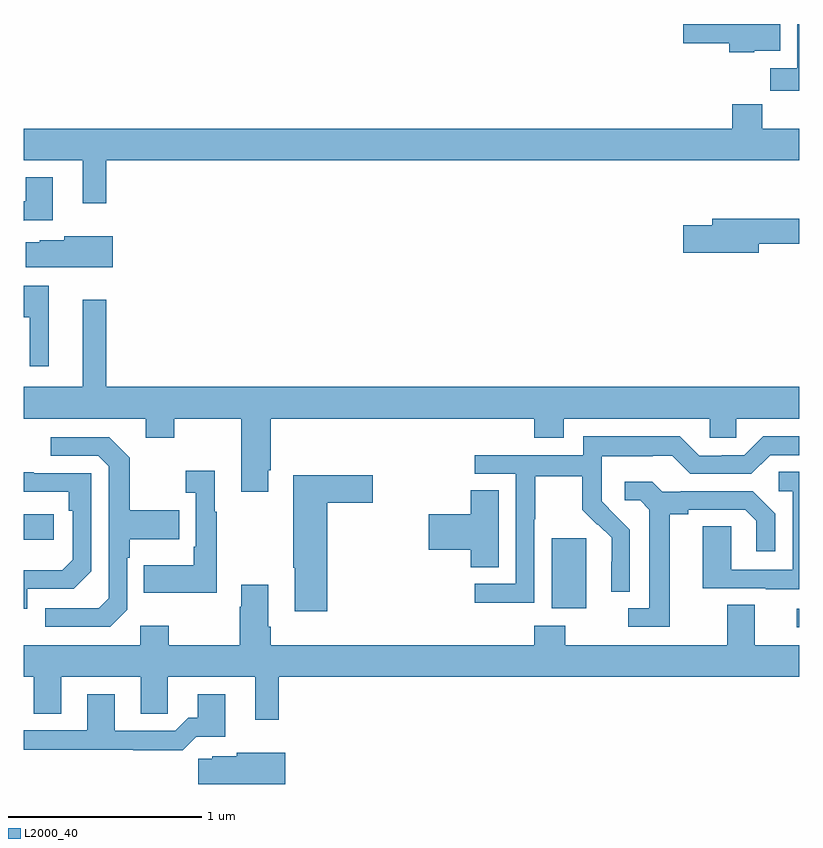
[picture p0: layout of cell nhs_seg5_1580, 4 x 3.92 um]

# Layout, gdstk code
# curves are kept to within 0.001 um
import gdstk
lib = gdstk.Library(unit=1e-6, precision=1e-09)
def R(c, l, rs):  # rectangles x0, y0, x1, y1
    for r in rs: c.add(gdstk.rectangle(r[:2], r[2:], *l))
def P(c, l, *ps):  # polygons
    for p in ps: c.add(gdstk.Polygon(p, *l))
L2000_40 = (2000, 40)

nhs_seg5_1580 = lib.new_cell('nhs_seg5_1580')
R(nhs_seg5_1580, L2000_40, [(210.987,851.688,211,851.784), (209.723,851.786,209.902,852.147), (207,852.14,207.154,852.27)])
P(nhs_seg5_1580, L2000_40, [(211,854.799),(210.989,854.799),(210.989,854.572),(210.85,854.572),(210.85,854.454),(211,854.454)],
  [(210.768,854.66),(210.901,854.66),(210.901,854.799),(210.402,854.799),(210.402,854.701),(210.638,854.701),(210.638,854.654),(210.768,854.654)],
  [(211,854.26),(210.809,854.26),(210.809,854.384),(210.653,854.384),(210.653,854.26),(207,854.26),(207,854.096),(207.305,854.096),(207.305,853.875),(207.427,853.875),(207.427,854.096),(211,854.096)],
  [(207.003,853.788),(207.151,853.788),(207.151,854.008),(207.011,854.008),(207.011,853.885),(207,853.885),(207,853.785)],
  [(210.79,853.666),(211,853.666),(211,853.795),(210.551,853.795),(210.551,853.761),(210.402,853.761),(210.402,853.619),(210.79,853.619)],
  [(207.46,853.705),(207.21,853.705),(207.21,853.684),(207.084,853.684),(207.084,853.673),(207.012,853.673),(207.012,853.544),(207.46,853.544)],
  [(207.13,853.45),(207,853.45),(207,853.286),(207.032,853.286),(207.032,853.035),(207.13,853.035)],
  [(207.427,853.378),(207.305,853.378),(207.305,852.928),(207,852.928),(207,852.764),(207.629,852.764),(207.629,852.665),(207.777,852.665),(207.777,852.764),(208.121,852.764),(208.121,852.387),(208.261,852.387),(208.261,852.499),(208.274,852.499),(208.274,852.764),(209.633,852.764),(209.633,852.665),(209.785,852.665),(209.785,852.764),(210.537,852.764),(210.537,852.666),(210.675,852.666),(210.675,852.764),(211,852.764),(211,852.928),(207.427,852.928)],
  [(209.634,852.244),(209.637,852.244),(209.637,852.468),(209.881,852.468),(209.881,852.293),(209.958,852.216),(209.961,852.219),(210.032,852.149),(210.032,852.026),(210.03,852.026),(210.03,851.872),(210.126,851.872),(210.126,852.19),(209.98,852.338),(209.98,852.435),(209.982,852.435),(209.982,852.569),(210.245,852.569),(210.245,852.573),(210.345,852.573),(210.438,852.48),(210.753,852.48),(210.849,852.576),(211,852.576),(211,852.672),(210.813,852.672),(210.717,852.576),(210.599,852.576),(210.599,852.573),(210.483,852.573),(210.383,852.673),(209.886,852.673),(209.886,852.576),(209.325,852.576),(209.325,852.48),(209.538,852.48),(209.538,851.913),(209.325,851.913),(209.325,851.815),(209.634,851.815)],
  [(207.534,851.778),(207.534,852.047),(207.547,852.047),(207.547,852.143),(207.803,852.143),(207.803,852.291),(207.547,852.291),(207.547,852.563),(207.441,852.669),(207.141,852.669),(207.141,852.573),(207.384,852.573),(207.438,852.519),(207.438,851.838),(207.387,851.787),(207.111,851.787),(207.111,851.691),(207.447,851.691)],
  [(207.997,852.283),(207.985,852.283),(207.985,852.496),(207.837,852.496),(207.837,852.383),(207.888,852.383),(207.888,852.103),(207.876,852.103),(207.876,852.007),(207.619,852.007),(207.619,851.867),(207.997,851.867)],
  [(211,852.491),(210.894,852.491),(210.894,852.39),(210.966,852.39),(210.966,851.985),(210.648,851.985),(210.648,852.209),(210.503,852.209),(210.503,851.889),(210.827,851.889),(210.827,851.885),(211,851.885)],
  [(207.018,851.886),(207.258,851.886),(207.348,851.976),(207.348,852.483),(207.053,852.483),(207.053,852.488),(207,852.488),(207,852.387),(207.232,852.387),(207.232,852.29),(207.252,852.29),(207.252,852.036),(207.199,851.983),(207,851.983),(207,851.784),(207.018,851.784)],
  [(208.565,852.329),(208.801,852.329),(208.801,852.471),(208.39,852.471),(208.39,851.995),(208.397,851.995),(208.397,851.772),(208.565,851.772)],
  [(210.331,852.272),(210.427,852.272),(210.427,852.294),(210.722,852.294),(210.779,852.237),(210.779,852.081),(210.876,852.081),(210.876,852.274),(210.76,852.39),(210.388,852.39),(210.388,852.387),(210.294,852.387),(210.242,852.439),(210.099,852.439),(210.099,852.342),(210.18,852.342),(210.227,852.295),(210.227,851.787),(210.117,851.787),(210.117,851.691),(210.331,851.691)],
  [(209.449,852.395),(209.306,852.395),(209.306,852.272),(209.088,852.272),(209.088,852.089),(209.306,852.089),(209.306,851.998),(209.449,851.998)],
  [(208.315,851.432),(211,851.432),(211,851.596),(210.769,851.596),(210.769,851.804),(210.629,851.804),(210.629,851.596),(209.793,851.596),(209.793,851.695),(209.633,851.695),(209.633,851.596),(208.274,851.596),(208.274,851.692),(208.261,851.692),(208.261,851.908),(208.121,851.908),(208.121,851.795),(208.114,851.795),(208.114,851.596),(207.747,851.596),(207.747,851.695),(207.6,851.695),(207.6,851.596),(207,851.596),(207,851.432),(207.053,851.432),(207.053,851.242),(207.193,851.242),(207.193,851.432),(207.605,851.432),(207.605,851.242),(207.744,851.242),(207.744,851.432),(208.193,851.432),(208.193,851.211),(208.315,851.211)],
  [(207.891,851.124),(208.039,851.124),(208.039,851.344),(207.899,851.344),(207.899,851.221),(207.85,851.221),(207.783,851.154),(207.469,851.154),(207.469,851.344),(207.329,851.344),(207.329,851.157),(207,851.157),(207,851.056),(207.565,851.056),(207.565,851.054),(207.821,851.054)],
  [(208.348,851.041),(208.098,851.041),(208.098,851.023),(207.972,851.023),(207.972,851.009),(207.9,851.009),(207.9,850.88),(208.348,850.88)])

lib.write_gds('nhs_seg5_1580.gds')
